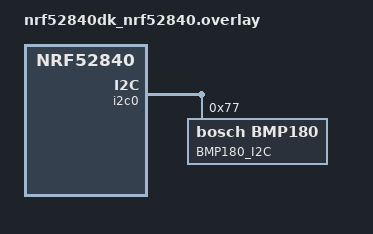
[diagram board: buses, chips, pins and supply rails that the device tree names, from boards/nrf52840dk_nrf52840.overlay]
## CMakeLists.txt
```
# SPDX-License-Identifier: Apache-2.0

cmake_minimum_required(VERSION 3.20.0)
find_package(Zephyr REQUIRED HINTS $ENV{ZEPHYR_BASE})
project(bmp180)

FILE(GLOB app_sources src/*.c)
target_sources(app PRIVATE ${app_sources})
```

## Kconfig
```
# Copyright (c) 2020, Nordic Semiconductor ASA
# SPDX-License-Identifier: Apache-2.0

source "Kconfig.zephyr"
```

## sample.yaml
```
sample:
  name: Bosch pressure and temperature BMP180 sensor sample
tests:
  sample.sensor.bmp180:
  build_only: true
    harness: sensor
    tags: samples sensors
    platform_allow: nrf52840dk_nrf52840
    integration_platforms:
      -     platform_allow: nrf52840dk_nrf52840
    depends_on: gpio i2c bmp180
    filter: dt_compat_enabled("bosch,bmp180")
```

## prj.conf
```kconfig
CONFIG_I2C=y
CONFIG_SENSOR=y
CONFIG_BMP180=y
CONFIG_LOG_PRINTK=y
CONFIG_LOG=y
CONFIG_SENSOR_LOG_LEVEL_INF=y
CONFIG_NEWLIB_LIBC=y
```

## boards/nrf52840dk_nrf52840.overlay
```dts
/*
 * Copyright (c) 2019, Linaro Ltd.
 *
 * SPDX-License-Identifier: Apache-2.0
 */

&i2c0 {
    bmp180@77 {
		compatible = "bosch,bmp180";
		reg = <0x77>;
		label = "BMP180_I2C";
		pressure_oversampling_level = <0x03>;
	};
};
```

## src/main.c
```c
/*
 * Copyright (c) 2012-2014 Wind River Systems, Inc.
 * Copyright (c) 2021 Nordic Semiconductor ASA
 *
 * SPDX-License-Identifier: Apache-2.0
 */

#include <device.h>
#include <devicetree.h>
#include <drivers/sensor.h>
#include <logging/log.h>
#include <drivers/sensor.h>

LOG_MODULE_REGISTER(app);

static const struct device *get_bmp180_device(void)
{
	const struct device *dev = DEVICE_DT_GET_ANY(bosch_bmp180);

	if (dev == NULL) {
		/* No such node, or the node does not have status "okay". */
		LOG_ERR("Error: no device found.");
		return NULL;
	}

	if (!device_is_ready(dev)) {
		LOG_ERR("Error: Device \"%s\" is not ready; "
		       "check the driver initialization logs for errors.",
		       dev->name);
		return NULL;
	}

	LOG_INF("Found device \"%s\", getting sensor data", dev->name);
	return dev;
}

void main(void) {

	k_sleep(K_SECONDS(5));
	LOG_INF("started!");

	const struct device *dev_bmp_180 = get_bmp180_device();

	if (dev_bmp_180 == NULL) {
		LOG_ERR("bmp180 not found");
		return;
	}

	while (1) {
		struct sensor_value temp, press, altitude;

		sensor_sample_fetch(dev_bmp_180);
		sensor_channel_get(dev_bmp_180, SENSOR_CHAN_AMBIENT_TEMP, &temp);
		sensor_channel_get(dev_bmp_180, SENSOR_CHAN_PRESS, &press);
		sensor_channel_get(dev_bmp_180, SENSOR_CHAN_ALTITUDE, &altitude);

		printk("\r\ntemperature: %d.%d C\r\npressure: %d Pa\r\nAltitude: %d m above sea level\r\n",
			temp.val1, temp.val2/100000, press.val1, altitude.val1);

		k_sleep(K_MSEC(5000));
	}
}
```
